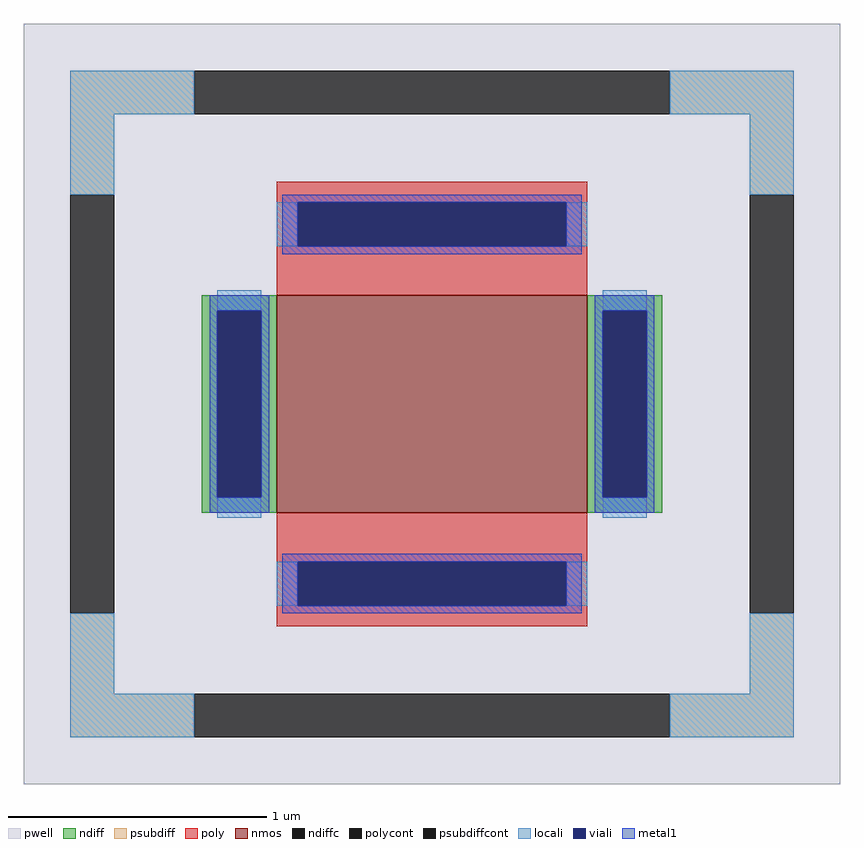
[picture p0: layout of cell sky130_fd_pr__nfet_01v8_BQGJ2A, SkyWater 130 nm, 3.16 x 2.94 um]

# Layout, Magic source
magic
tech sky130A
<< pwell >>
rect -158 -147 158 147
<< nmos >>
rect -60 -42 60 42
<< ndiff >>
rect -89 36 -60 42
rect -89 -36 -83 36
rect -66 -36 -60 36
rect -89 -42 -60 -36
rect 60 36 89 42
rect 60 -36 66 36
rect 83 -36 89 36
rect 60 -42 89 -36
<< ndiffc >>
rect -83 -36 -66 36
rect 66 -36 83 36
<< psubdiff >>
rect -140 112 -92 129
rect 92 112 140 129
rect -140 81 -123 112
rect 123 81 140 112
rect -140 -112 -123 -81
rect 123 -112 140 -81
rect -140 -129 -92 -112
rect 92 -129 140 -112
<< psubdiffcont >>
rect -92 112 92 129
rect -140 -81 -123 81
rect 123 -81 140 81
rect -92 -129 92 -112
<< poly >>
rect -60 78 60 86
rect -60 61 -52 78
rect 52 61 60 78
rect -60 42 60 61
rect -60 -61 60 -42
rect -60 -78 -52 -61
rect 52 -78 60 -61
rect -60 -86 60 -78
<< polycont >>
rect -52 61 52 78
rect -52 -78 52 -61
<< locali >>
rect -140 112 -92 129
rect 92 112 140 129
rect -140 81 -123 112
rect 123 81 140 112
rect -60 61 -52 78
rect 52 61 60 78
rect -83 36 -66 44
rect -83 -44 -66 -36
rect 66 36 83 44
rect 66 -44 83 -36
rect -60 -78 -52 -61
rect 52 -78 60 -61
rect -140 -112 -123 -81
rect 123 -112 140 -81
rect -140 -129 -92 -112
rect 92 -129 140 -112
<< viali >>
rect -52 61 52 78
rect -83 -36 -66 36
rect 66 -36 83 36
rect -52 -78 52 -61
<< metal1 >>
rect -58 78 58 81
rect -58 61 -52 78
rect 52 61 58 78
rect -58 58 58 61
rect -86 36 -63 42
rect -86 -36 -83 36
rect -66 -36 -63 36
rect -86 -42 -63 -36
rect 63 36 86 42
rect 63 -36 66 36
rect 83 -36 86 36
rect 63 -42 86 -36
rect -58 -61 58 -58
rect -58 -78 -52 -61
rect 52 -78 58 -61
rect -58 -81 58 -78
<< properties >>
string FIXED_BBOX -131 -120 131 120
string gencell sky130_fd_pr__nfet_01v8
string library sky130
string parameters w 0.84 l 1.2 m 1 nf 1 diffcov 100 polycov 100 guard 1 glc 1 grc 1 gtc 1 gbc 1 tbcov 100 rlcov 100 topc 1 botc 1 poverlap 0 doverlap 1 lmin 0.15 wmin 0.42 compatible {sky130_fd_pr__nfet_01v8 sky130_fd_pr__nfet_01v8_lvt  sky130_fd_bs_flash__special_sonosfet_star  sky130_fd_pr__nfet_g5v0d10v5 sky130_fd_pr__nfet_05v0_nvt  sky130_fd_pr__nfet_03v3_nvt} full_metal 1 viasrc 100 viadrn 100 viagate 100 viagb 0 viagr 0 viagl 0 viagt 0
<< end >>
